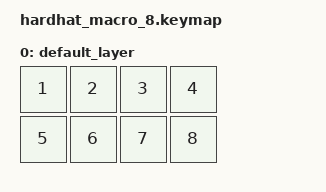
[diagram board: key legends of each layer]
// This file was generated from a template. Edit it to match your keyboard.
// See https://zmk.dev/docs/development/hardware-integration/new-shield for more instructions.

#include <behaviors.dtsi>
#include <dt-bindings/zmk/keys.h>

/ {
    // Define a default keymap here.
    // See https://zmk.dev/docs/development/hardware-integration/new-shield#default-keymap.
    keymap {
        compatible = "zmk,keymap";

        default_layer {
            bindings = <
                &kp 1 &kp 2 &kp 3 &kp 4
                &kp 5 &kp 6 &kp 7 &kp 8
            >;
        };
    };
};
